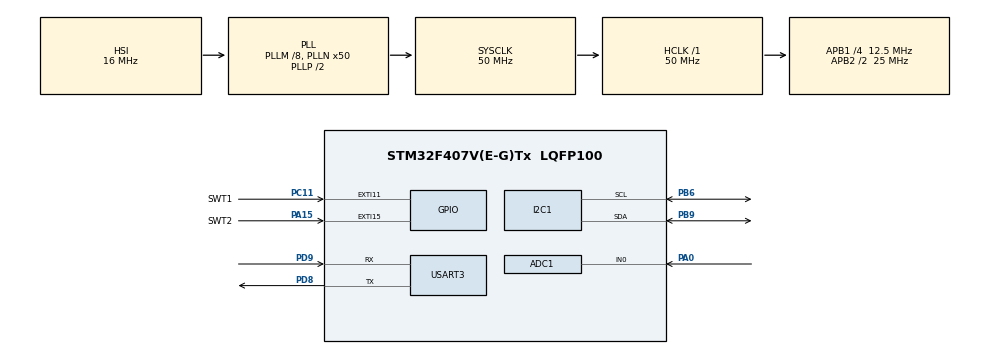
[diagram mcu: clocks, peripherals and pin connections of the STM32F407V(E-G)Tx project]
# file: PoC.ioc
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ADC1.Channel-3\#ChannelRegularConversion=ADC_CHANNEL_0
ADC1.ContinuousConvMode=ENABLE
ADC1.DMAContinuousRequests=ENABLE
ADC1.NbrOfConversionFlag=1
ADC1.Rank-3\#ChannelRegularConversion=1
ADC1.SamplingTime-3\#ChannelRegularConversion=ADC_SAMPLETIME_480CYCLES
ADC1.ScanConvMode=ENABLE
ADC1.master=1
Dma.ADC1.2.Direction=DMA_PERIPH_TO_MEMORY
Dma.ADC1.2.FIFOMode=DMA_FIFOMODE_DISABLE
Dma.ADC1.2.Instance=DMA2_Stream0
Dma.ADC1.2.MemDataAlignment=DMA_MDATAALIGN_HALFWORD
Dma.ADC1.2.MemInc=DMA_MINC_ENABLE
Dma.ADC1.2.Mode=DMA_CIRCULAR
Dma.ADC1.2.PeriphDataAlignment=DMA_PDATAALIGN_HALFWORD
Dma.ADC1.2.PeriphInc=DMA_PINC_DISABLE
Dma.ADC1.2.Priority=DMA_PRIORITY_LOW
Dma.Request0=USART3_RX
Dma.Request1=USART3_TX
Dma.Request2=ADC1
Dma.USART3_RX.0.Direction=DMA_PERIPH_TO_MEMORY
Dma.USART3_RX.0.FIFOMode=DMA_FIFOMODE_DISABLE
Dma.USART3_RX.0.Instance=DMA1_Stream1
Dma.USART3_RX.0.MemDataAlignment=DMA_MDATAALIGN_BYTE
Dma.USART3_RX.0.MemInc=DMA_MINC_ENABLE
Dma.USART3_RX.0.Mode=DMA_NORMAL
Dma.USART3_RX.0.PeriphDataAlignment=DMA_PDATAALIGN_BYTE
Dma.USART3_RX.0.PeriphInc=DMA_PINC_DISABLE
Dma.USART3_RX.0.Priority=DMA_PRIORITY_LOW
Dma.USART3_TX.1.Direction=DMA_MEMORY_TO_PERIPH
Dma.USART3_TX.1.FIFOMode=DMA_FIFOMODE_DISABLE
Dma.USART3_TX.1.Instance=DMA1_Stream3
Dma.USART3_TX.1.MemDataAlignment=DMA_MDATAALIGN_BYTE
Dma.USART3_TX.1.MemInc=DMA_MINC_ENABLE
Dma.USART3_TX.1.Mode=DMA_NORMAL
Dma.USART3_TX.1.PeriphDataAlignment=DMA_PDATAALIGN_BYTE
Dma.USART3_TX.1.PeriphInc=DMA_PINC_DISABLE
Dma.USART3_TX.1.Priority=DMA_PRIORITY_LOW
Mcu.Family=STM32F4
Mcu.Name=STM32F407V(E-G)Tx
Mcu.Package=LQFP100
NVIC.DMA1_Stream1_IRQn=true\:0\:0\:false\:false\:true\:false\:true\:true
NVIC.DMA1_Stream3_IRQn=true\:0\:0\:false\:false\:true\:false\:true\:true
NVIC.DMA2_Stream0_IRQn=true\:0\:0\:false\:false\:true\:false\:true\:true
NVIC.EXTI15_10_IRQn=true\:0\:1\:true\:false\:true\:true\:true\:true
NVIC.PriorityGroup=NVIC_PRIORITYGROUP_0
NVIC.USART3_IRQn=true\:0\:0\:false\:false\:true\:true\:true\:true
PA0-WKUP.Signal=ADCx_IN0
PA15.GPIO_Label=SWT2
PA15.Signal=GPXTI15
PB6.GPIO_Pu=GPIO_NOPULL
PB6.Mode=I2C
PB6.Signal=I2C1_SCL
PB9.Mode=I2C
PB9.Signal=I2C1_SDA
PC11.GPIO_Label=SWT1
PC11.Signal=GPXTI11
PD8.Mode=Asynchronous
PD8.Signal=USART3_TX
PD9.Mode=Asynchronous
PD9.Signal=USART3_RX
PH0-OSC_IN.Mode=HSE-External-Oscillator
PH0-OSC_IN.Signal=RCC_OSC_IN
PH1-OSC_OUT.Mode=HSE-External-Oscillator
PH1-OSC_OUT.Signal=RCC_OSC_OUT
ProjectManager.HeapSize=0x200
ProjectManager.StackSize=0x400
ProjectManager.TargetToolchain=STM32CubeIDE
RCC.48MHZClocksFreq_Value=14285714.285714285
RCC.AHBFreq_Value=50000000
RCC.APB1CLKDivider=RCC_HCLK_DIV4
RCC.APB1Freq_Value=12500000
RCC.APB1TimFreq_Value=25000000
RCC.APB2CLKDivider=RCC_HCLK_DIV2
RCC.APB2Freq_Value=25000000
RCC.APB2TimFreq_Value=50000000
RCC.CortexFreq_Value=50000000
RCC.HCLKFreq_Value=50000000
RCC.HSE_VALUE=8000000
RCC.HSI_VALUE=16000000
RCC.LSE_VALUE=32768
RCC.PLLM=8
RCC.PLLN=50
RCC.PLLQ=7
RCC.SYSCLKFreq_VALUE=50000000
RCC.SYSCLKSource=RCC_SYSCLKSOURCE_PLLCLK
RCC.VCOOutputFreq_Value=100000000
SH.ADCx_IN0.0=ADC1_IN0,IN0
USART3.VirtualMode=VM_ASYNC
VP_RTC_VS_RTC_Activate.Mode=RTC_Enabled
board=STM32F407G-DISC1

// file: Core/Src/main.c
/* USER CODE BEGIN Header */
/**
 ******************************************************************************
 * @file           : main.c
 * @brief          : Main program body
 ******************************************************************************
 * @attention
 *
 * Copyright (c) 2024 STMicroelectronics.
 * All rights reserved.
 *
 * This software is licensed under terms that can be found in the LICENSE file
 * in the root directory of this software component.
 * If no LICENSE file comes with this software, it is provided AS-IS.
 *
 ******************************************************************************
 */
/* USER CODE END Header */
#include "main.h"

/* USER CODE BEGIN Includes */
#include <stdbool.h>
#include <stdio.h>

#include "DLTuc.h"
#include "DLTucConfig.h"
#include "VoltageMonitor.h"
#include "DtcRequestHandler.h"

/* USER CODE END Includes */

ADC_HandleTypeDef hadc1;
DMA_HandleTypeDef hdma_adc1;

I2C_HandleTypeDef hi2c1;

RTC_HandleTypeDef hrtc;

UART_HandleTypeDef huart3;
DMA_HandleTypeDef hdma_usart3_rx;
DMA_HandleTypeDef hdma_usart3_tx;

/* USER CODE BEGIN PV */
static uint32_t msNow = 0;
static uint32_t msLast = 0;
static bool clearDtcFlag = false;
static bool readDtcFlag = false;

/* USER CODE END PV */

void SystemClock_Config(void);
static void MX_GPIO_Init(void);
static void MX_DMA_Init(void);
static void MX_I2C1_Init(void);
static void MX_USART3_UART_Init(void);
static void MX_ADC1_Init(void);
static void MX_RTC_Init(void);

/* USER CODE BEGIN 0 */
void HAL_UARTEx_RxEventCallback(UART_HandleTypeDef *huart, uint16_t Size)
{
  DLTuc_RawDataReceiveDone(Size);
}

void HAL_UART_TxCpltCallback(UART_HandleTypeDef *huart)
{
  DLTuc_MessageTransmitDone();
}

void LLSerialTrDataFunctionC(uint8_t *DltLogData, uint8_t Size)
{
  HAL_UART_Transmit_DMA(&huart3, DltLogData, Size);
}

void LLSerialRecDataFunctionC(uint8_t *DltLogData, uint16_t Size)
{
  HAL_UARTEx_ReceiveToIdle_DMA(&huart3, DltLogData, Size);
}

void DltInjectDataRcvd(uint32_t AppId, uint32_t ConId, uint32_t ServId, uint8_t *Data, uint16_t Size)
{
  LOGL(DL_INFO, "RecInjectionData: %s, ServId: %d Size: %d", Data, ServId, Size);
}

void HAL_GPIO_EXTI_Callback(uint16_t GPIO_Pin)
{
  if (GPIO_Pin == SWT1_Pin)
  {
    clearDtcFlag = true;
  }
  if (GPIO_Pin == SWT2_Pin)
  {
    readDtcFlag = true;
  }
}

/* USER CODE END 0 */

int main(void)
{

  /* MCU Configuration--------------------------------------------------------*/

  /* Reset of all peripherals, Initializes the Flash interface and the Systick. */
  HAL_Init();

  /* Configure the system clock */
  SystemClock_Config();

  /* Initialize all configured peripherals */
  MX_GPIO_Init();
  MX_DMA_Init();
  MX_I2C1_Init();
  MX_USART3_UART_Init();
  MX_ADC1_Init();
  MX_RTC_Init();
  /* USER CODE BEGIN 2 */

  /*Register Low Level Transmit/Receive functions for DLTuc Library*/
  DLTuc_RegisterTransmitSerialDataFunction(LLSerialTrDataFunctionC);
  DLTuc_RegisterReceiveSerialDataFunction(LLSerialRecDataFunctionC);

  DLTuc_RegisterGetTimeStampMsCallback(HAL_GetTick); /*Register GetSysTime function*/
  /*The function "GetSysTime" must return the time in ms*/

  DLTuc_RegisterInjectionDataReceivedCb(DltInjectDataRcvd);

  LOGL(DL_INFO, "Start HAL ADC");
  HAL_ADC_Start(&hadc1);

  /* USER CODE END 2 */

  /* Infinite loop */
  /* USER CODE BEGIN WHILE */
  while (1)
  {
    if (clearDtcFlag)
    {
      ClearAllDtc();
      clearDtcFlag = false;
    }

    if (readDtcFlag)
    {
      ReadAllDtc();
      readDtcFlag = false;
    }

    msNow = HAL_GetTick();
    if (msNow - msLast >= 3000)
    {
      LOGL(DL_INFO, "Call ADC Monitor check");
      CheckVoltage();
      msLast = msNow;
    }

    /* USER CODE END WHILE */

  }
}

void SystemClock_Config(void)
{
  RCC_OscInitTypeDef RCC_OscInitStruct = {0};
  RCC_ClkInitTypeDef RCC_ClkInitStruct = {0};

  /** Configure the main internal regulator output voltage
  */
  __HAL_RCC_PWR_CLK_ENABLE();
  __HAL_PWR_VOLTAGESCALING_CONFIG(PWR_REGULATOR_VOLTAGE_SCALE1);

  /** Initializes the RCC Oscillators according to the specified parameters
  * in the RCC_OscInitTypeDef structure.
  */
  RCC_OscInitStruct.OscillatorType = RCC_OSCILLATORTYPE_HSI|RCC_OSCILLATORTYPE_LSI;
  RCC_OscInitStruct.HSIState = RCC_HSI_ON;
  RCC_OscInitStruct.HSICalibrationValue = RCC_HSICALIBRATION_DEFAULT;
  RCC_OscInitStruct.LSIState = RCC_LSI_ON;
  RCC_OscInitStruct.PLL.PLLState = RCC_PLL_ON;
  RCC_OscInitStruct.PLL.PLLSource = RCC_PLLSOURCE_HSI;
  RCC_OscInitStruct.PLL.PLLM = 8;
  RCC_OscInitStruct.PLL.PLLN = 50;
  RCC_OscInitStruct.PLL.PLLP = RCC_PLLP_DIV2;
  RCC_OscInitStruct.PLL.PLLQ = 7;
  if (HAL_RCC_OscConfig(&RCC_OscInitStruct) != HAL_OK)
  {
    Error_Handler();
  }

  /** Initializes the CPU, AHB and APB buses clocks
  */
  RCC_ClkInitStruct.ClockType = RCC_CLOCKTYPE_HCLK|RCC_CLOCKTYPE_SYSCLK
                              |RCC_CLOCKTYPE_PCLK1|RCC_CLOCKTYPE_PCLK2;
  RCC_ClkInitStruct.SYSCLKSource = RCC_SYSCLKSOURCE_PLLCLK;
  RCC_ClkInitStruct.AHBCLKDivider = RCC_SYSCLK_DIV1;
  RCC_ClkInitStruct.APB1CLKDivider = RCC_HCLK_DIV4;
  RCC_ClkInitStruct.APB2CLKDivider = RCC_HCLK_DIV2;

  if (HAL_RCC_ClockConfig(&RCC_ClkInitStruct, FLASH_LATENCY_1) != HAL_OK)
  {
    Error_Handler();
  }
}

static void MX_ADC1_Init(void)
{

  ADC_ChannelConfTypeDef sConfig = {0};

  /** Configure the global features of the ADC (Clock, Resolution, Data Alignment and number of conversion)
  */
  hadc1.Instance = ADC1;
  hadc1.Init.ClockPrescaler = ADC_CLOCK_SYNC_PCLK_DIV2;
  hadc1.Init.Resolution = ADC_RESOLUTION_12B;
  hadc1.Init.ScanConvMode = ENABLE;
  hadc1.Init.ContinuousConvMode = ENABLE;
  hadc1.Init.DiscontinuousConvMode = DISABLE;
  hadc1.Init.ExternalTrigConvEdge = ADC_EXTERNALTRIGCONVEDGE_NONE;
  hadc1.Init.ExternalTrigConv = ADC_SOFTWARE_START;
  hadc1.Init.DataAlign = ADC_DATAALIGN_RIGHT;
  hadc1.Init.NbrOfConversion = 1;
  hadc1.Init.DMAContinuousRequests = ENABLE;
  hadc1.Init.EOCSelection = ADC_EOC_SINGLE_CONV;
  if (HAL_ADC_Init(&hadc1) != HAL_OK)
  {
    Error_Handler();
  }

  /** Configure for the selected ADC regular channel its corresponding rank in the sequencer and its sample time.
  */
  sConfig.Channel = ADC_CHANNEL_0;
  sConfig.Rank = 1;
  sConfig.SamplingTime = ADC_SAMPLETIME_480CYCLES;
  if (HAL_ADC_ConfigChannel(&hadc1, &sConfig) != HAL_OK)
  {
    Error_Handler();
  }

}

static void MX_I2C1_Init(void)
{

  hi2c1.Instance = I2C1;
  hi2c1.Init.ClockSpeed = 100000;
  hi2c1.Init.DutyCycle = I2C_DUTYCYCLE_2;
  hi2c1.Init.OwnAddress1 = 0;
  hi2c1.Init.AddressingMode = I2C_ADDRESSINGMODE_7BIT;
  hi2c1.Init.DualAddressMode = I2C_DUALADDRESS_DISABLE;
  hi2c1.Init.OwnAddress2 = 0;
  hi2c1.Init.GeneralCallMode = I2C_GENERALCALL_DISABLE;
  hi2c1.Init.NoStretchMode = I2C_NOSTRETCH_DISABLE;
  if (HAL_I2C_Init(&hi2c1) != HAL_OK)
  {
    Error_Handler();
  }

}

static void MX_RTC_Init(void)
{

  /** Initialize RTC Only
  */
  hrtc.Instance = RTC;
  hrtc.Init.HourFormat = RTC_HOURFORMAT_24;
  hrtc.Init.AsynchPrediv = 127;
  hrtc.Init.SynchPrediv = 255;
  hrtc.Init.OutPut = RTC_OUTPUT_DISABLE;
  hrtc.Init.OutPutPolarity = RTC_OUTPUT_POLARITY_HIGH;
  hrtc.Init.OutPutType = RTC_OUTPUT_TYPE_OPENDRAIN;
  if (HAL_RTC_Init(&hrtc) != HAL_OK)
  {
    Error_Handler();
  }

}

static void MX_USART3_UART_Init(void)
{

  huart3.Instance = USART3;
  huart3.Init.BaudRate = 115200;
  huart3.Init.WordLength = UART_WORDLENGTH_8B;
  huart3.Init.StopBits = UART_STOPBITS_1;
  huart3.Init.Parity = UART_PARITY_NONE;
  huart3.Init.Mode = UART_MODE_TX_RX;
  huart3.Init.HwFlowCtl = UART_HWCONTROL_NONE;
  huart3.Init.OverSampling = UART_OVERSAMPLING_16;
  if (HAL_UART_Init(&huart3) != HAL_OK)
  {
    Error_Handler();
  }

}

static void MX_DMA_Init(void)
{

  /* DMA controller clock enable */
  __HAL_RCC_DMA1_CLK_ENABLE();
  __HAL_RCC_DMA2_CLK_ENABLE();

  /* DMA interrupt init */
  /* DMA1_Stream1_IRQn interrupt configuration */
  HAL_NVIC_SetPriority(DMA1_Stream1_IRQn, 0, 0);
  HAL_NVIC_EnableIRQ(DMA1_Stream1_IRQn);
  /* DMA1_Stream3_IRQn interrupt configuration */
  HAL_NVIC_SetPriority(DMA1_Stream3_IRQn, 0, 0);
  HAL_NVIC_EnableIRQ(DMA1_Stream3_IRQn);
  /* DMA2_Stream0_IRQn interrupt configuration */
  HAL_NVIC_SetPriority(DMA2_Stream0_IRQn, 0, 0);
  HAL_NVIC_EnableIRQ(DMA2_Stream0_IRQn);

}

static void MX_GPIO_Init(void)
{
  GPIO_InitTypeDef GPIO_InitStruct = {0};

  /* GPIO Ports Clock Enable */
  __HAL_RCC_GPIOH_CLK_ENABLE();
  __HAL_RCC_GPIOA_CLK_ENABLE();
  __HAL_RCC_GPIOD_CLK_ENABLE();
  __HAL_RCC_GPIOC_CLK_ENABLE();
  __HAL_RCC_GPIOB_CLK_ENABLE();

  /*Configure GPIO pin : SWT2_Pin */
  GPIO_InitStruct.Pin = SWT2_Pin;
  GPIO_InitStruct.Mode = GPIO_MODE_IT_RISING;
  GPIO_InitStruct.Pull = GPIO_NOPULL;
  HAL_GPIO_Init(SWT2_GPIO_Port, &GPIO_InitStruct);

  /*Configure GPIO pin : SWT1_Pin */
  GPIO_InitStruct.Pin = SWT1_Pin;
  GPIO_InitStruct.Mode = GPIO_MODE_IT_RISING;
  GPIO_InitStruct.Pull = GPIO_NOPULL;
  HAL_GPIO_Init(SWT1_GPIO_Port, &GPIO_InitStruct);

  /* EXTI interrupt init*/
  HAL_NVIC_SetPriority(EXTI15_10_IRQn, 0, 1);
  HAL_NVIC_EnableIRQ(EXTI15_10_IRQn);

}

void Error_Handler(void)
{
  __disable_irq();
  while (1)
  {
  }
}
